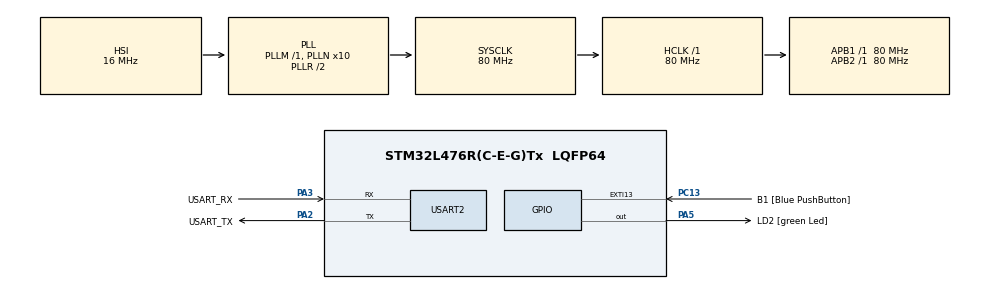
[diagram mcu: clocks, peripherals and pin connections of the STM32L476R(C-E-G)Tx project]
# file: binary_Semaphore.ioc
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FREERTOS.Tasks01=defaultTask,0,128,StartDefaultTask,Default,NULL,Dynamic,NULL,NULL
Mcu.Family=STM32L4
Mcu.Name=STM32L476R(C-E-G)Tx
Mcu.Package=LQFP64
NVIC.PriorityGroup=NVIC_PRIORITYGROUP_4
PA13\ (JTMS-SWDIO).GPIO_Label=TMS
PA13\ (JTMS-SWDIO).Mode=Serial_Wire
PA13\ (JTMS-SWDIO).Signal=SYS_JTMS-SWDIO
PA14\ (JTCK-SWCLK).GPIO_Label=TCK
PA14\ (JTCK-SWCLK).Mode=Serial_Wire
PA14\ (JTCK-SWCLK).Signal=SYS_JTCK-SWCLK
PA2.GPIO_Label=USART_TX
PA2.GPIO_Mode=GPIO_MODE_AF_PP
PA2.GPIO_PuPd=GPIO_NOPULL
PA2.GPIO_Speed=GPIO_SPEED_FREQ_VERY_HIGH
PA2.Mode=Asynchronous
PA2.Signal=USART2_TX
PA3.GPIO_Label=USART_RX
PA3.GPIO_Mode=GPIO_MODE_AF_PP
PA3.GPIO_PuPd=GPIO_NOPULL
PA3.GPIO_Speed=GPIO_SPEED_FREQ_VERY_HIGH
PA3.Mode=Asynchronous
PA3.Signal=USART2_RX
PA5.GPIO_Label=LD2 [green Led]
PA5.GPIO_ModeDefaultOutputPP=GPIO_MODE_OUTPUT_PP
PA5.GPIO_PuPd=GPIO_NOPULL
PA5.GPIO_Speed=GPIO_SPEED_FREQ_LOW
PA5.Signal=GPIO_Output
PB3\ (JTDO-TRACESWO).GPIO_Label=SWO
PB3\ (JTDO-TRACESWO).Signal=SYS_JTDO-SWO
PC13.GPIO_Label=B1 [Blue PushButton]
PC13.GPIO_ModeDefaultEXTI=GPIO_MODE_IT_FALLING
PC13.GPIO_PuPd=GPIO_NOPULL
PC13.Signal=GPXTI13
PC14-OSC32_IN\ (PC14).Mode=LSE-External-Oscillator
PC14-OSC32_IN\ (PC14).Signal=RCC_OSC32_IN
PC15-OSC32_OUT\ (PC15).Mode=LSE-External-Oscillator
PC15-OSC32_OUT\ (PC15).Signal=RCC_OSC32_OUT
PH0-OSC_IN\ (PH0).Signal=RCC_OSC_IN
PH1-OSC_OUT\ (PH1).Signal=RCC_OSC_OUT
ProjectManager.HeapSize=0x200
ProjectManager.StackSize=0x400
ProjectManager.TargetToolchain=STM32CubeIDE
RCC.ADCFreq_Value=64000000
RCC.AHBFreq_Value=80000000
RCC.APB1Freq_Value=80000000
RCC.APB1TimFreq_Value=80000000
RCC.APB2Freq_Value=80000000
RCC.APB2TimFreq_Value=80000000
RCC.CortexFreq_Value=80000000
RCC.HCLKFreq_Value=80000000
RCC.HSE_VALUE=8000000
RCC.HSI_VALUE=16000000
RCC.MSI_VALUE=4000000
RCC.PLLN=10
RCC.PLLSourceVirtual=RCC_PLLSOURCE_HSI
RCC.PREFETCH_ENABLE=1
RCC.SYSCLKFreq_VALUE=80000000
RCC.SYSCLKSource=RCC_SYSCLKSOURCE_PLLCLK
RCC.USBFreq_Value=64000000
RCC.VCOOutputFreq_Value=160000000
USART2.VirtualMode-Asynchronous=VM_ASYNC
VP_FREERTOS_VS_CMSIS_V1.Mode=CMSIS_V1
board=NUCLEO-L476RG

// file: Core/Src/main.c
/* USER CODE BEGIN Header */
/**
  ******************************************************************************
  * @file           : main.c
  * @brief          : Main program body
  ******************************************************************************
  * @attention
  *
  * Copyright (c) 2025 STMicroelectronics.
  * All rights reserved.
  *
  * This software is licensed under terms that can be found in the LICENSE file
  * in the root directory of this software component.
  * If no LICENSE file comes with this software, it is provided AS-IS.
  *
  ******************************************************************************
  */
/* USER CODE END Header */
#include "main.h"
#include "cmsis_os.h"

/* USER CODE BEGIN Includes */
#include<stdio.h>
#include<string.h>
#include<stdlib.h>
/* USER CODE END Includes */

UART_HandleTypeDef huart2;

osThreadId defaultTaskHandle;
/* USER CODE BEGIN PV */
xSemaphoreHandle xSem1;  //handle for semaphore

xQueueHandle xsem_q;  //handle for queue
/* USER CODE END PV */

void SystemClock_Config(void);
static void MX_GPIO_Init(void);
static void MX_USART2_UART_Init(void);
void StartDefaultTask(void const * argument);

/* USER CODE BEGIN 0 */
void uart_send(char *s)
{
	// Send string over UART2
	HAL_UART_Transmit(&huart2, (uint8_t *)s, strlen(s), 1000);
}

void task1(void *p)
{
	unsigned int id;
	portBASE_TYPE status;

	// Give semaphore once at start
	xSemaphoreGive(xSem1);

	while(1)
	{
		// Generate a random id (0 to 0x1FF)
		id = (rand() & 0X1ff);

		// Try to send 'id' into queue (wait forever if full)
		status = xQueueSend(xsem_q ,&id, portMAX_DELAY);

		if(status != pdPASS)
		{
			// Failed to send message into queue
			uart_send("message cannot be send to queue\r\n");
		}
		else
		{
			// Successfully sent -> release semaphore
			xSemaphoreGive(xSem1);

			// Yield CPU to allow other tasks to run
			taskYIELD();
		}
	}
}

void do_work(unsigned char id)
{
	char msg[50];

	// Print the received id
	sprintf(msg,"id received : %d\r\n",id);
	uart_send(msg);

	// Simulate some processing time (delay = id ticks)
	vTaskDelay(id);
}

void task2(void *p)
{
	unsigned char id;
	portBASE_TYPE status;

	// Give semaphore once at start
	xSemaphoreGive(xSem1);

	while(1)
	{
		// Take semaphore (non-blocking)
		xSemaphoreTake(xSem1 ,0);

		// Try to receive id from queue (non-blocking)
		status = xQueueReceive(xsem_q, &id, 0);

		if(status == pdPASS)
		{
			// If queue has data → process it
			do_work(id);
		}
		else
		{
			// Queue empty
			uart_send("queue is empty\r\n");
		}
	}
}

/* USER CODE END 0 */

int main(void)
{

  /* MCU Configuration--------------------------------------------------------*/

  /* Reset of all peripherals, Initializes the Flash interface and the Systick. */
  HAL_Init();

  /* Configure the system clock */
  SystemClock_Config();

  /* Initialize all configured peripherals */
  MX_GPIO_Init();
  MX_USART2_UART_Init();

  /* Create the thread(s) */
  /* definition and creation of defaultTask */
  osThreadDef(defaultTask, StartDefaultTask, osPriorityNormal, 0, 128);
  defaultTaskHandle = osThreadCreate(osThread(defaultTask), NULL);

  /* USER CODE BEGIN RTOS_THREADS */
  vSemaphoreCreateBinary(xSem1);   // Create a binary semaphore

  xsem_q = xQueueCreate(1,sizeof(unsigned int));   // Create a queue with length 1, each item is unsigned int

  // Check if semaphore and queue are created successfully
  if((xSem1 !=NULL)&&(xsem_q !=NULL))
  {
  	  // Create Task1 with priority 3
  	  xTaskCreate(task1, "TASK-1", configMINIMAL_STACK_SIZE, NULL, 3, NULL);

  	  // Create Task2 with priority 1
  	  xTaskCreate(task2, "TASK-2", configMINIMAL_STACK_SIZE, NULL, 1, NULL);
  }
  else
  {
  	  uart_send("queue/semaphore creation failed\r\n");   // Print error if creation failed
  }

  /* USER CODE END RTOS_THREADS */

  /* Start scheduler */
  osKernelStart();

  /* We should never get here as control is now taken by the scheduler */

  /* Infinite loop */
  while (1)
  {

  }
}

void SystemClock_Config(void)
{
  RCC_OscInitTypeDef RCC_OscInitStruct = {0};
  RCC_ClkInitTypeDef RCC_ClkInitStruct = {0};

  /** Configure the main internal regulator output voltage
  */
  if (HAL_PWREx_ControlVoltageScaling(PWR_REGULATOR_VOLTAGE_SCALE1) != HAL_OK)
  {
    Error_Handler();
  }

  /** Initializes the RCC Oscillators according to the specified parameters
  * in the RCC_OscInitTypeDef structure.
  */
  RCC_OscInitStruct.OscillatorType = RCC_OSCILLATORTYPE_HSI;
  RCC_OscInitStruct.HSIState = RCC_HSI_ON;
  RCC_OscInitStruct.HSICalibrationValue = RCC_HSICALIBRATION_DEFAULT;
  RCC_OscInitStruct.PLL.PLLState = RCC_PLL_ON;
  RCC_OscInitStruct.PLL.PLLSource = RCC_PLLSOURCE_HSI;
  RCC_OscInitStruct.PLL.PLLM = 1;
  RCC_OscInitStruct.PLL.PLLN = 10;
  RCC_OscInitStruct.PLL.PLLP = RCC_PLLP_DIV7;
  RCC_OscInitStruct.PLL.PLLQ = RCC_PLLQ_DIV2;
  RCC_OscInitStruct.PLL.PLLR = RCC_PLLR_DIV2;
  if (HAL_RCC_OscConfig(&RCC_OscInitStruct) != HAL_OK)
  {
    Error_Handler();
  }

  /** Initializes the CPU, AHB and APB buses clocks
  */
  RCC_ClkInitStruct.ClockType = RCC_CLOCKTYPE_HCLK|RCC_CLOCKTYPE_SYSCLK
                              |RCC_CLOCKTYPE_PCLK1|RCC_CLOCKTYPE_PCLK2;
  RCC_ClkInitStruct.SYSCLKSource = RCC_SYSCLKSOURCE_PLLCLK;
  RCC_ClkInitStruct.AHBCLKDivider = RCC_SYSCLK_DIV1;
  RCC_ClkInitStruct.APB1CLKDivider = RCC_HCLK_DIV1;
  RCC_ClkInitStruct.APB2CLKDivider = RCC_HCLK_DIV1;

  if (HAL_RCC_ClockConfig(&RCC_ClkInitStruct, FLASH_LATENCY_4) != HAL_OK)
  {
    Error_Handler();
  }
}

static void MX_USART2_UART_Init(void)
{

  huart2.Instance = USART2;
  huart2.Init.BaudRate = 115200;
  huart2.Init.WordLength = UART_WORDLENGTH_8B;
  huart2.Init.StopBits = UART_STOPBITS_1;
  huart2.Init.Parity = UART_PARITY_NONE;
  huart2.Init.Mode = UART_MODE_TX_RX;
  huart2.Init.HwFlowCtl = UART_HWCONTROL_NONE;
  huart2.Init.OverSampling = UART_OVERSAMPLING_16;
  huart2.Init.OneBitSampling = UART_ONE_BIT_SAMPLE_DISABLE;
  huart2.AdvancedInit.AdvFeatureInit = UART_ADVFEATURE_NO_INIT;
  if (HAL_UART_Init(&huart2) != HAL_OK)
  {
    Error_Handler();
  }

}

static void MX_GPIO_Init(void)
{
  GPIO_InitTypeDef GPIO_InitStruct = {0};

  /* GPIO Ports Clock Enable */
  __HAL_RCC_GPIOC_CLK_ENABLE();
  __HAL_RCC_GPIOH_CLK_ENABLE();
  __HAL_RCC_GPIOA_CLK_ENABLE();
  __HAL_RCC_GPIOB_CLK_ENABLE();

  /*Configure GPIO pin Output Level */
  HAL_GPIO_WritePin(LD2_GPIO_Port, LD2_Pin, GPIO_PIN_RESET);

  /*Configure GPIO pin : B1_Pin */
  GPIO_InitStruct.Pin = B1_Pin;
  GPIO_InitStruct.Mode = GPIO_MODE_IT_FALLING;
  GPIO_InitStruct.Pull = GPIO_NOPULL;
  HAL_GPIO_Init(B1_GPIO_Port, &GPIO_InitStruct);

  /*Configure GPIO pin : LD2_Pin */
  GPIO_InitStruct.Pin = LD2_Pin;
  GPIO_InitStruct.Mode = GPIO_MODE_OUTPUT_PP;
  GPIO_InitStruct.Pull = GPIO_NOPULL;
  GPIO_InitStruct.Speed = GPIO_SPEED_FREQ_LOW;
  HAL_GPIO_Init(LD2_GPIO_Port, &GPIO_InitStruct);

}

void StartDefaultTask(void const * argument)
{
  for(;;)
  {
    osDelay(1);
  }
}

void Error_Handler(void)
{
  __disable_irq();
  while (1)
  {
  }
}
